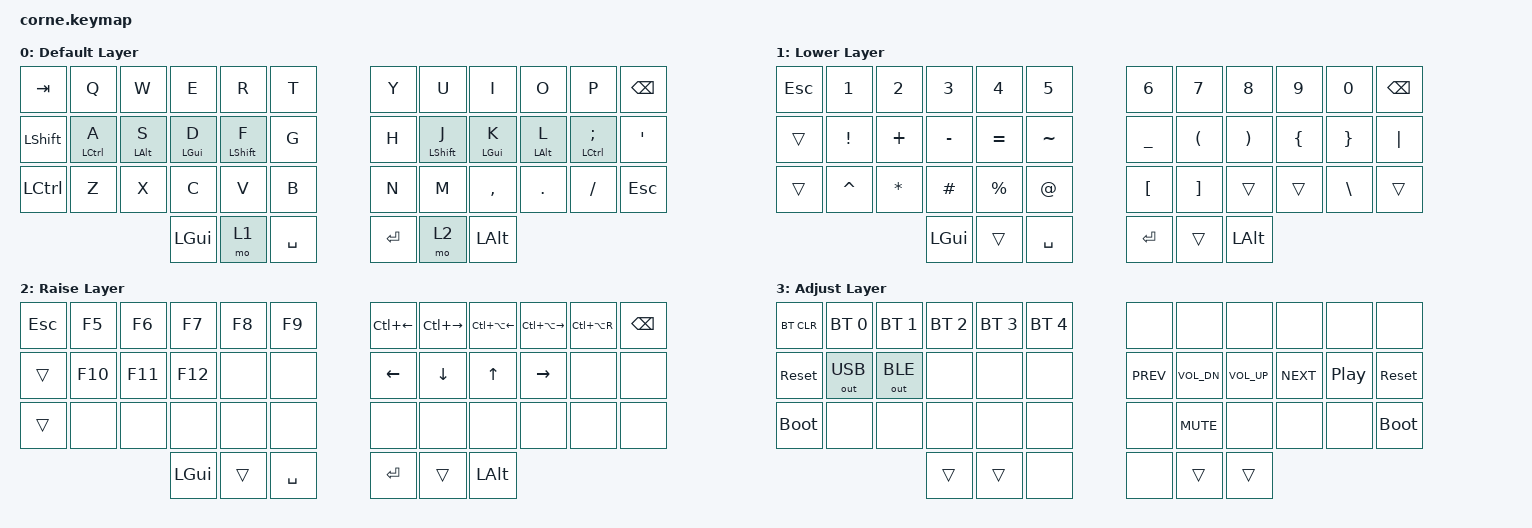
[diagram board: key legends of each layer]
/*
 * Copyright (c) 2020 The ZMK Contributors
 *
 * SPDX-License-Identifier: MIT
 */

#include <behaviors.dtsi>
#include <dt-bindings/zmk/bt.h>
#include <dt-bindings/zmk/keys.h>
#include <dt-bindings/zmk/outputs.h>

// Key positions (Corne 6 col): rows 0-11, 12-23, 24-35, thumbs 36-41
#define KEYS_L 0 1 2 3 4 5 12 13 14 15 16 17 24 25 26 27 28 29
#define KEYS_R 6 7 8 9 10 11 18 19 20 21 22 23 30 31 32 33 34 35
#define THUMBS 36 37 38 39 40 41

/ {
    behaviors {
        // "Timeless" home row mods (urob/zmk-config): a mod only triggers when
        // the other key is on the opposite hand or a thumb, so fast same-hand
        // rolls always resolve as taps.
        hml: home_row_mod_left {
            compatible = "zmk,behavior-hold-tap";
            #binding-cells = <2>;
            flavor = "balanced";
            tapping-term-ms = <280>;
            quick-tap-ms = <175>;
            require-prior-idle-ms = <150>;
            bindings = <&kp>, <&kp>;
            hold-trigger-key-positions = <KEYS_R THUMBS>;
            hold-trigger-on-release;
        };

        hmr: home_row_mod_right {
            compatible = "zmk,behavior-hold-tap";
            #binding-cells = <2>;
            flavor = "balanced";
            tapping-term-ms = <280>;
            quick-tap-ms = <175>;
            require-prior-idle-ms = <150>;
            bindings = <&kp>, <&kp>;
            hold-trigger-key-positions = <KEYS_L THUMBS>;
            hold-trigger-on-release;
        };
    };

    keymap {
        compatible = "zmk,keymap";

        default_layer {
            display-name = "Default Layer";

            // -----------------------------------------------------------------------------
            // |  TAB  |  Q  |  W  |  E  |  R  |  T  |   |  Y  |  U  |  I  |  O  |  P  | BSPC |
            // | SHIFT |  A  |  S  |  D  |  F  |  G  |   |  H  |  J  |  K  |  L  |  ;  |  '   |
            // |  (hold)  CTRL  OPT   CMD  SHIFT       |       SHIFT  CMD  OPT  CTRL          |
            // | CTRL  |  Z  |  X  |  C  |  V  |  B  |   |  N  |  M  |  ,  |  .  |  /  | ESC  |
            //                     | CMD | LWR | SPC |   | ENT | RSE | OPT |

            bindings = <
&kp TAB    &kp Q        &kp W       &kp E       &kp R        &kp T        &kp Y    &kp U        &kp I       &kp O       &kp P            &kp BSPC
&kp LSHFT  &hml LCTRL A &hml LALT S &hml LGUI D &hml LSHFT F &kp G        &kp H    &hmr LSHFT J &hmr LGUI K &hmr LALT L &hmr LCTRL SEMI  &kp SQT
&kp LCTRL  &kp Z        &kp X       &kp C       &kp V        &kp B        &kp N    &kp M        &kp COMMA   &kp DOT     &kp FSLH         &kp ESC
                                    &kp LGUI    &mo 1        &kp SPACE    &kp RET  &mo 2        &kp LALT
            >;
        };

        lower_layer {
            display-name = "Lower Layer";

            // -----------------------------------------------------------------------------
            // | ESC |  1  |  2  |  3  |  4  |  5  |   |  6  |  7  |  8  |  9  |  0  | BSPC |
            // |     |  !  |  +  |  -  |  =  |  ~  |   |  _  |  (  |  )  |  {  |  }  |  |   |
            // |     |  ^  |  *  |  #  |  %  |  @  |   |  [  |  ]  |     |     |  \  |      |
            //                   | CMD |     | SPC |   | ENT |     | OPT |

            bindings = <
&kp ESCAPE  &kp N1     &kp N2     &kp N3     &kp N4       &kp N5       &kp N6            &kp N7                &kp N8                 &kp N9          &kp N0           &kp BSPC
&trans      &kp EXCL   &kp PLUS   &kp MINUS  &kp EQUAL    &kp TILDE    &kp UNDER         &kp LEFT_PARENTHESIS  &kp RIGHT_PARENTHESIS  &kp LEFT_BRACE  &kp RIGHT_BRACE  &kp PIPE
&trans      &kp CARET  &kp ASTRK  &kp HASH   &kp PERCENT  &kp AT       &kp LEFT_BRACKET  &kp RIGHT_BRACKET     &trans                 &trans          &kp BACKSLASH    &trans
                                  &kp LGUI   &trans       &kp SPACE    &kp RET           &trans                &kp LALT
            >;
        };

        raise_layer {
            display-name = "Raise Layer";

            // -----------------------------------------------------------------------------
            // | ESC | F5  | F6  | F7  | F8  | F9  |   | C-← | C-→ |C-O-←|C-O-→|C-O-R | BSPC |
            // |     | F10 | F11 | F12 |     |     |   |  ←  |  ↓  |  ↑  |  →  |      |      |
            // |     |     |     |     |     |     |   |     |     |     |     |      |      |
            //                   | CMD |     | SPC |   | ENT |     | OPT |

            bindings = <
&kp ESCAPE  &kp F5   &kp F6   &kp F7    &kp F8  &kp F9       &kp LC(LEFT)  &kp LC(RIGHT)  &kp LC(LA(LEFT))  &kp LC(LA(RIGHT))  &kp LC(LA(R))  &kp BSPC
&trans      &kp F10  &kp F11  &kp F12   &none   &none        &kp LEFT      &kp DOWN       &kp UP_ARROW      &kp RIGHT_ARROW    &none          &none
&trans      &none    &none    &none     &none   &none        &none         &none          &none             &none              &none          &none
                              &kp LGUI  &trans  &kp SPACE    &kp RET       &trans         &kp LALT
            >;
        };

        adjust_layer {
            display-name = "Adjust Layer";

            // LWR + RSE
            // -----------------------------------------------------------------------------
            // |BTCLR| BT0 | BT1 | BT2 | BT3 | BT4 |   |     |     |     |     |     |      |
            // |RESET| USB | BLE |     |     |     |   |PREV |VOL- |VOL+ |NEXT |PLAY |RESET |
            // |BOOT |     |     |     |     |     |   |     |MUTE |     |     |     | BOOT |
            //                   |     |     |     |   |     |     |     |

            bindings = <
&bt BT_CLR   &bt BT_SEL 0  &bt BT_SEL 1  &bt BT_SEL 2  &bt BT_SEL 3  &bt BT_SEL 4    &none      &none         &none            &none       &none   &none
&sys_reset   &out OUT_USB  &out OUT_BLE  &none         &none         &none           &kp C_PREV &kp C_VOL_DN  &kp C_VOLUME_UP  &kp C_NEXT  &kp C_PP  &sys_reset
&bootloader  &none         &none         &none         &none         &none           &none      &kp C_MUTE    &none            &none       &none   &bootloader
                                         &trans        &trans        &none           &none      &trans        &trans
            >;
        };
    };

    conditional_layers {
        compatible = "zmk,conditional-layers";

        adjust_layer {
            if-layers = <1 2>;
            then-layer = <3>;
        };
    };
};
